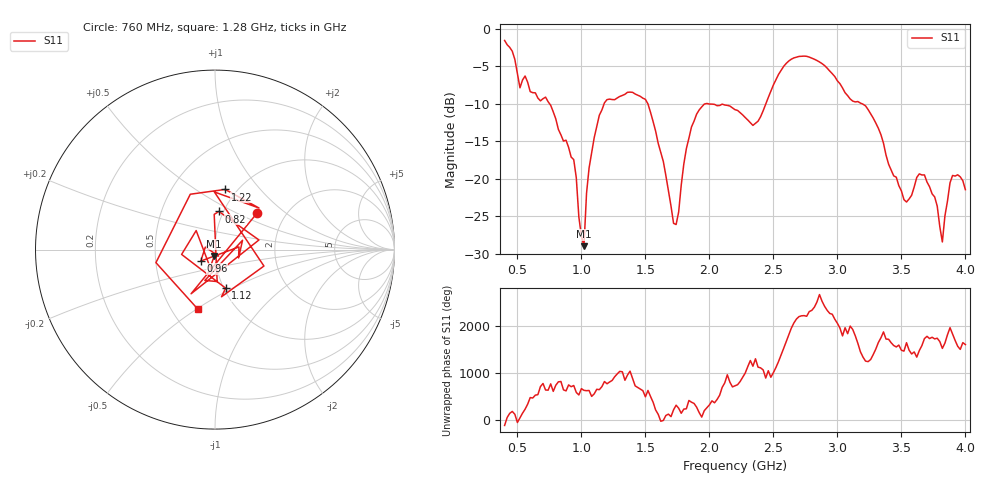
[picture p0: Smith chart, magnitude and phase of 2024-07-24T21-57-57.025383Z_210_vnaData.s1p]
!Created with skrf (http://scikit-rf.org).
# Hz S RI R 50.0
!freq ReS11 ImS11
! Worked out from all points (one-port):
!   181 points, 400 MHz to 4 GHz, reference 50 ohm
!   lowest |S11| = -29.0 dB at 1.02 GHz (marker M1), VSWR 1.07, Z = 49.5 - j3.49 ohm
!   |S11| at or under -10 dB: 1.52 GHz to 1.968 GHz (448.8 MHz wide, 25.7 % of centre); 1.992 GHz to 2.441 GHz (448.1 MHz wide, 20.2 % of centre); 3.194 GHz to end of sweep (the widest 3 of 4)
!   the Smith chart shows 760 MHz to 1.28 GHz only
!   S11 on the Smith chart (normalised r, x): 760 MHz: 1.44, +0.64; 820 MHz: 0.95, +0.42; 960 MHz: 0.85, -0.11; 1.12 GHz: 1.02, -0.46; 1.22 GHz: 0.88, +0.67; 1.28 GHz: 0.67, -0.51
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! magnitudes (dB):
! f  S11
! 400 MHz  -1.5
! 520 MHz  -7.9
! 760 MHz  -10.2
! 820 MHz  -13.4
! 860 MHz  -15.0
! 960 MHz  -19.9
! 1.02 GHz  -29.0
! 1.06 GHz  -18.6
! 1.12 GHz  -13.0
! 1.22 GHz  -9.4
! 1.28 GHz  -9.2
! 1.3 GHz  -9.0
! 1.52 GHz  -10.0
! 1.72 GHz  -26.0
! 1.76 GHz  -24.4
! 1.82 GHz  -16.0
! 1.9 GHz  -11.4
! 2.2 GHz  -10.8
! 2.38 GHz  -12.3
! 2.66 GHz  -3.9
! 3.1 GHz  -9.4
! 3.28 GHz  -11.9
! 3.56 GHz  -22.7
! 3.68 GHz  -19.5
! 3.78 GHz  -23.7
! 3.82 GHz  -28.4
! 3.9 GHz  -19.6
! 4 GHz  -21.5
